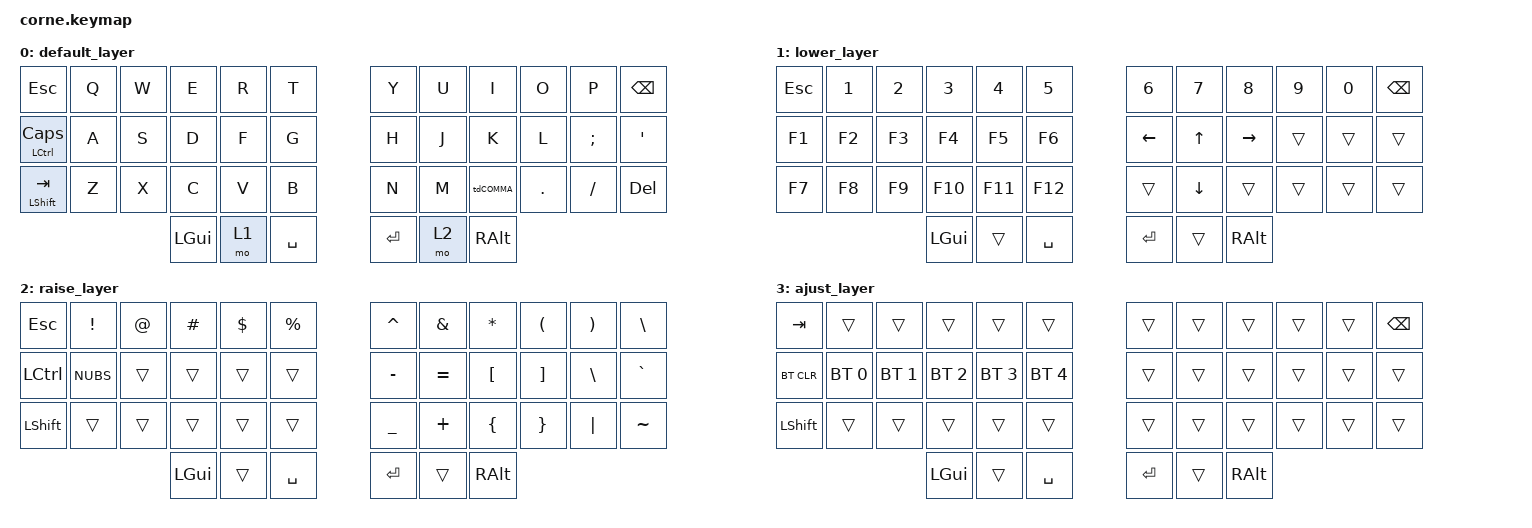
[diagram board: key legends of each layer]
/*
 * Copyright (c) 2020 The ZMK Contributors
 *
 * SPDX-License-Identifier: MIT
 */

#include <behaviors.dtsi>
#include <dt-bindings/zmk/keys.h>
#include <dt-bindings/zmk/bt.h>

/ {
        //este me servirá para la capa de ajustes
        conditional_layers {
        compatible = "zmk,conditional-layers";
        ajust_layer {
            if-layers = <1 2>;
            then-layer = <3>;
        };
    };
//Agregamos tapdance para facílitar los números con doble click
//los tabdance no los estoy utilizando de momento, pero los mantengo por si acaso. jeje
 behaviors {
        td0: tap_dance_0 {
            compatible = "zmk,behavior-tap-dance";
            #binding-cells = <0>;
            tapping-term-ms = <200>;
            bindings = <&kp Q>, <&kp N1>;
        };
};
behaviors {
        td1: tap_dance_1 {
            compatible = "zmk,behavior-tap-dance";
            #binding-cells = <0>;
            tapping-term-ms = <200>;
            bindings = <&kp W>, <&kp N2>;
        };
       };
behaviors {
        td2: tap_dance_2 {//E,é y 3
            compatible = "zmk,behavior-tap-dance";
            #binding-cells = <0>;
            tapping-term-ms = <200>;
            bindings = <&kp E>, <&kp N3>;
        };
       }; 
behaviors {
         td3: tap_dance_3 {
            compatible = "zmk,behavior-tap-dance";
            #binding-cells = <0>;
            tapping-term-ms = <200>;
            bindings = <&kp R>, <&kp N4>;
        };
};
behaviors {
        td4: tap_dance_4 {
            compatible = "zmk,behavior-tap-dance";
            #binding-cells = <0>;
            tapping-term-ms = <200>;
            bindings = <&kp T>, <&kp N5>;
        };
};
  behaviors {
        td5: tap_dance_5 {
            compatible = "zmk,behavior-tap-dance";
            #binding-cells = <0>;
            tapping-term-ms = <200>;
            bindings = <&kp Y>, <&kp N6>;
        };
};
behaviors {
        td6: tap_dance_6 {//U,ú,7
            compatible = "zmk,behavior-tap-dance";
            #binding-cells = <0>;
            tapping-term-ms = <200>;
            bindings = <&kp U>, <&kp N7>;
        };
};
behaviors {
        td7: tap_dance_7 {//i ,í,8
            compatible = "zmk,behavior-tap-dance";
            #binding-cells = <0>;
            tapping-term-ms = <200>;
            bindings = <&kp I>, <&kp N8>;
        };
};
behaviors {
         td8: tap_dance_8 {
            compatible = "zmk,behavior-tap-dance";
            #binding-cells = <0>;
            tapping-term-ms = <200>;
            bindings = <&kp O>, <&kp N9>;
        };
};
behaviors {
        td9: tap_dance_9 {
            compatible = "zmk,behavior-tap-dance";
            #binding-cells = <0>;
            tapping-term-ms = <200>;
            bindings = <&kp P>, <&kp N0>;
        };
    };
behaviors {
        tdCOMMA: tap_dance_COMMA {
            compatible = "zmk,behavior-tap-dance";
            #binding-cells = <0>;
            tapping-term-ms = <200>;
            bindings = <&kp COMMA>, <&mt LSHIFT COMMA>;
        };
    };
       

//--------termina ajustes-------------
        keymap {
                compatible = "zmk,keymap";

                default_layer {
// -----------------------------------------------------------------------------------------
// | ESC |  Q   |  W  |  E  |  R  |  T  |   |  Y  |  U   |  I  |  O  |  P  | BSPC |
// | CTRL |  A  |  S  |  D  |  F  |  G  |   |  H  |  J   |  K  |  L  |  ;  |  '   |
// | SHFT |  Z  |  X  |  C  |  V  |  B  |   |  N  |  M   |  ,  |  .  |  /  | DEL  |
//                    | GUI | LWR | SPC |   | SPC | RSE  | ENT/ALT |
                        bindings = <
   &kp ESC   &kp Q &kp W &kp E &kp R &kp T   &kp Y &kp U  &kp I     &kp O   &kp P    &kp BSPC
   &mt LCTRL CAPS &kp A &kp S &kp D &kp F &kp G   &kp H &kp J  &kp K     &kp L   &kp SEMI   &kp SQT
   &mt LSHFT TAB &kp Z &kp X &kp C &kp V &kp B   &kp N &kp M  &tdCOMMA &kp DOT &kp FSLH &kp DEL
                  &kp LGUI &mo 1 &kp SPACE   &kp RET &mo 2 &kp RALT 
                        >;
                };
                lower_layer {
// -----------------------------------------------------------------------------------------
// |  TAB |  1  |  2  |  3  |  4  |  5  |   |  6  |  7  |  8  |  9  |  0  | BSPC |
// | F1   | F2  | F3  | F4  | F5  | F6  |   | LFT | DWN |  UP | RGT |     |      |
// | F7   | F8  | F9  | F10 | F11 | F12 |   |     |     |     |     |     |      |
//                    | GUI |     | SPC |   | SPC |     | ENT/ALT |
                        bindings = <
   &kp ESC &kp N1 &kp N2 &kp N3 &kp N4 &kp N5        &kp N6   &kp N7   &kp N8    &kp N9 &kp N0  &kp BSPC
   &kp F1 &kp F2 &kp F3 &kp F4 &kp F5 &kp F6         &kp LEFT &kp UP   &kp RIGHT &trans &trans  &trans
   &kp F7 &kp F8 &kp F9 &kp F10 &kp F11 &kp F12      &trans   &kp DOWN &trans    &trans &trans  &trans
                      &kp LGUI &trans &kp SPACE      &kp RET  &trans   &kp RALT
                        >;
                };

                raise_layer {
// -----------------------------------------------------------------------------------------
// |  TAB |  !  |  @  |  #  |  $  |  %  |   |  ^  |  &  |  *  |  (  |  )  | \    |
// | CTRL |  <> |     |     |     |     |   |  -  |  =  |  [  |  ]  |  \  |  `   |
// | SHFT |     |     |     |     |     |   |  _  |  +  |  {  |  }  | "|" |  ~   |
//                    | GUI |     | SPC |   | ENT |     | ALT |
                        bindings = <
   &kp  ESC  &kp EXCL &kp AT &kp HASH &kp DLLR &kp PRCNT   &kp CARET &kp AMPS  &kp ASTRK &kp LPAR &kp RPAR &kp BSLH
   &kp LCTRL &kp NUBS &trans  &trans   &trans   &trans      &kp MINUS &kp EQUAL &kp LBKT  &kp RBKT &kp BSLH &kp GRAVE
   &kp LSHFT &trans   &trans &trans   &trans   &trans      &kp UNDER &kp PLUS  &kp LBRC  &kp RBRC &kp PIPE &kp TILDE
                             &kp LGUI &trans   &kp SPACE   &kp RET   &trans    &kp RALT
                        >;
                };

ajust_layer {//capa 3 //capa de ajuste irá todo lo del bt
// -----------------------------------------------------------------------------------------
// |  TAB |     |     |     |     |     |   |     |     |     |     |     | BSPC |
// | BTCLR| BT1 | BT2 | BT3 |  B4 |  B5 |   |     |     |     |     |     |      |
// | SHFT |     |     |     |     |     |   |     |     |     |     |     |      |
//                    | GUI |     | SPC |   | ENT |     | ALT |
                        bindings = <
   &kp TAB    &trans       &trans       &trans       &trans       &trans         &trans   &trans   &trans &trans    &trans &kp BSPC
   &bt BT_CLR &bt BT_SEL 0 &bt BT_SEL 1 &bt BT_SEL 2 &bt BT_SEL 3 &bt BT_SEL 4   &trans   &trans   &trans &trans    &trans &trans
   &kp LSHFT  &trans       &trans       &trans       &trans       &trans         &trans   &trans   &trans &trans    &trans &trans
                                    &kp LGUI     &trans       &kp SPACE      &kp RET  &trans   &kp RALT
                        >;
                };
        };
};
